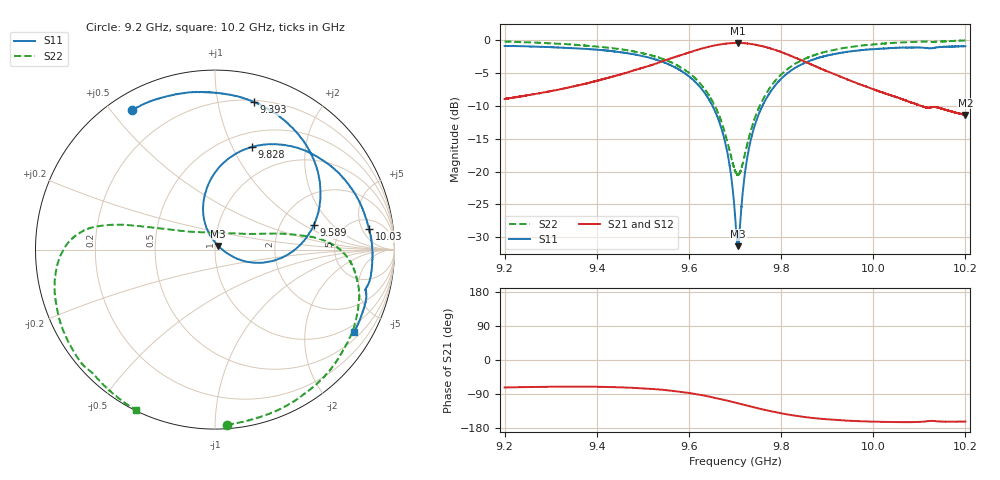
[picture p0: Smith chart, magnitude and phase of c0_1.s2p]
!Agilent Technologies,N5242A,MY51221714,A.09.90.19
!Agilent N5242A: A.09.90.19
!Date: Saturday, March 16, 2024 10:16:45
!Correction: S11(Full 2 Port(1,2))
!S21(Full 2 Port(1,2))
!S12(Full 2 Port(1,2))
!S22(Full 2 Port(1,2))
!S2P File: Measurements: S11, S21, S12, S22:
# Hz S  dB  R 50
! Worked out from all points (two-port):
!   16001 points, 9.2 GHz to 10.2 GHz, reference 50 ohm
!   highest |S21| = -0.41 dB at 9.706 GHz (marker M1); lowest = -11.4 dB at 10.2 GHz (marker M2)
!   |S21| within 3 dB of the highest: 9.534355 GHz to 9.534407 GHz (51.32 kHz wide, 0.000538 % of centre); 9.535 GHz to 9.856 GHz (321.8 MHz wide, 3.32 % of centre)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
!   lowest |S11| = -31.4 dB at 9.707 GHz (marker M3), VSWR 1.06, Z = 51.7 + j2.16 ohm
!   |S11| at or under -10 dB: 9.651 GHz to 9.759 GHz (108.4 MHz wide, 1.12 % of centre); 9.759539 GHz to 9.759573 GHz (33.7 kHz wide, 0.000345 % of centre)
!   |S22| runs from -20.6 to 0.0 dB; largest |S21 - S12| = 0.012
!   S11 on the Smith chart (normalised r, x): 9.2 GHz: 0.07, +0.57; 9.393 GHz: 0.21, +1.27; 9.589 GHz: 3.06, +1.24; 9.828 GHz: 0.66, +1.19; 10.03 GHz: 7, +7; 10.2 GHz: 0.73, -3.49
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9.2e9  -0.89 120.8  -8.95 -72.5  -8.94 -73.1  -0.19 -86.1
9.27775e9  -0.99 103.2  -8.04 -70.9  -8.02 -71.4  -0.40 -64.4
9.366688e9  -1.28 82.0  -6.76 -70.4  -6.74 -70.9  -0.77 -40.8
9.392938e9  -1.40 75.3  -6.30 -70.5  -6.30 -71.2  -0.93 -34.0
9.533375e9  -3.05 34.3  -3.43 -77.6  -3.43 -78.1  -2.62 -3.3
9.588688e9  -4.94 14.1  -2.13 -85.1  -2.13 -85.6  -4.41 5.2
9.633625e9  -7.97 -4.6  -1.17 -94.0  -1.17 -94.5  -7.40 11.6
9.665188e9  -12.32 -17.6  -0.67 -102.1  -0.67 -102.6  -11.40 19.2
9.686438e9  -18.30 -22.0  -0.48 -108.2  -0.46 -108.7  -16.35 35.5
9.7e9  -26.44 -6.2  -0.43 -112.3  -0.40 -112.8  -19.90 66.2
9.706e9  -31.15 40.5  -0.41 -114.2  -0.40 -114.7  -20.50 87.4
9.706938e9  -31.35 50.6  -0.42 -114.5  -0.40 -115.0  -20.44 91.0
9.724688e9  -18.71 111.2  -0.49 -119.9  -0.47 -120.5  -16.37 139.4
9.744875e9  -12.53 106.5  -0.70 -126.0  -0.68 -126.6  -11.49 155.4
9.779875e9  -7.56 91.0  -1.32 -135.6  -1.31 -136.3  -6.82 163.2
9.827562e9  -4.34 70.4  -2.57 -146.3  -2.56 -146.9  -3.73 168.3
9.866688e9  -3.01 55.2  -3.72 -152.8  -3.72 -153.3  -2.41 172.8
9.943e9  -1.77 30.3  -5.95 -160.0  -5.96 -160.5  -1.11 -175.0
1.002638e10  -1.25 7.7  -8.11 -163.4  -8.13 -163.9  -0.50 -157.9
1.003338e10  -1.23 5.9  -8.28 -163.4  -8.28 -163.9  -0.46 -156.3
1.011156e10  -1.15 -12.8  -10.18 -162.5  -10.18 -163.0  -0.20 -138.7
1.02e10  -0.92 -30.8  -11.39 -162.5  -11.38 -163.0  -0.04 -116.4
